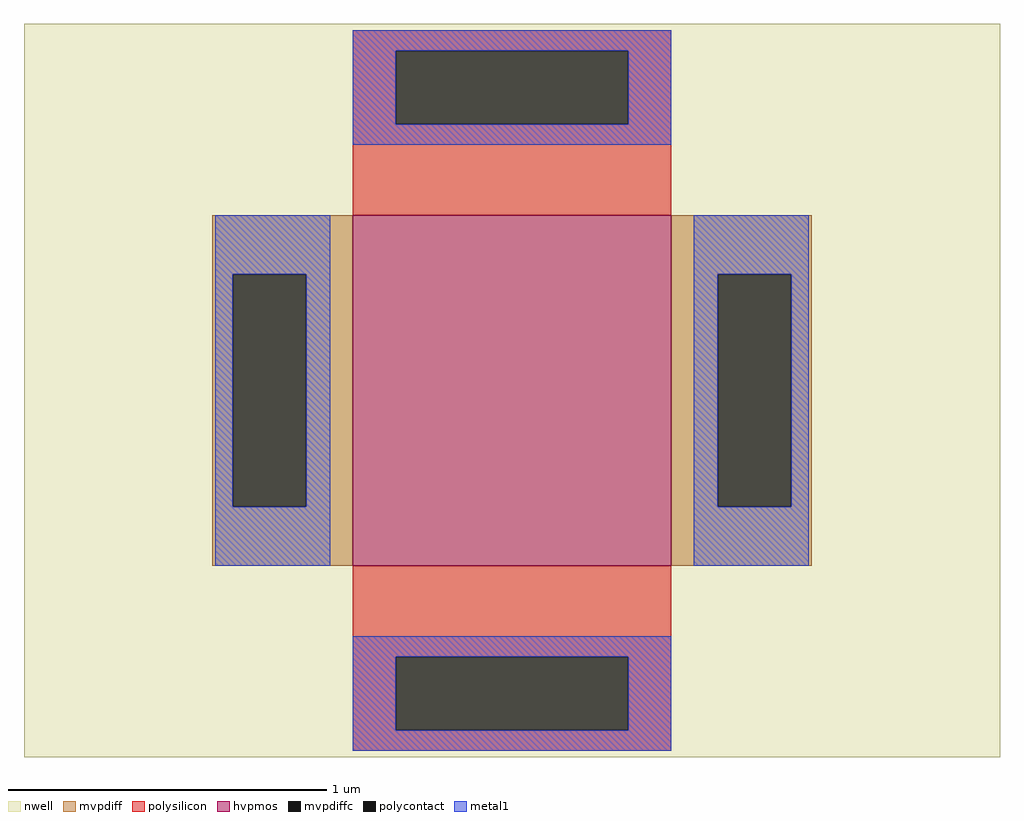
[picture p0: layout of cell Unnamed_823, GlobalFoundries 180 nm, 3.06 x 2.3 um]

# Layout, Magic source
magic
tech gf180mcuD
magscale 1 10
<< nwell >>
rect -192 -120 420 340
<< hvpmos >>
rect 14 0 214 220
<< mvpdiff >>
rect -74 183 14 220
rect -74 37 -61 183
rect -15 37 14 183
rect -74 0 14 37
rect 214 183 302 220
rect 214 37 243 183
rect 289 37 302 183
rect 214 0 302 37
<< mvpdiffc >>
rect -61 37 -15 183
rect 243 37 289 183
<< polysilicon >>
rect 14 323 214 336
rect 14 277 41 323
rect 187 277 214 323
rect 14 220 214 277
rect 14 -57 214 0
rect 14 -103 41 -57
rect 187 -103 214 -57
rect 14 -116 214 -103
<< polycontact >>
rect 41 277 187 323
rect 41 -103 187 -57
<< metal1 >>
rect 14 323 214 336
rect 14 277 41 323
rect 187 277 214 323
rect 14 264 214 277
rect -72 183 0 220
rect -72 37 -61 183
rect -15 37 0 183
rect -72 0 0 37
rect 228 183 300 220
rect 228 37 243 183
rect 289 37 300 183
rect 228 0 300 37
rect 14 -57 214 -44
rect 14 -103 41 -57
rect 187 -103 214 -57
rect 14 -116 214 -103
<< end >>
